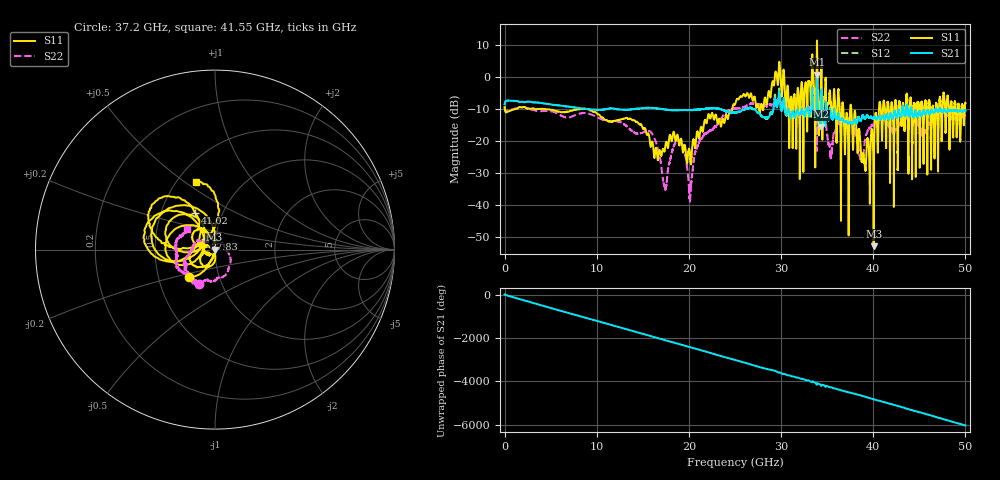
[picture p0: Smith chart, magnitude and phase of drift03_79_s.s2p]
!Created with skrf (http://scikit-rf.org).
# Hz S RI R 50.0
!freq ReS11 ImS11 ReS21 ImS21 ReS12 ImS12 ReS22 ImS22
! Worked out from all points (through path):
!   10001 points, 300 kHz to 50 GHz, reference 50 ohm
!   highest |S21| = 0.81 dB at 33.9 GHz (marker M1); lowest = -15.5 dB at 34.32 GHz (marker M2)
!   group delay of S21, straight-line fit = 335 ps
!   lowest |S11| = -53.0 dB at 40.05 GHz (marker M3), VSWR 1.00, Z = 49.8 - j0.0917 ohm
!   |S11| at or under -10 dB: 4.476 GHz to 8.18 GHz (3.704 GHz wide, 58.5 % of centre); 9.013 GHz to 24.7 GHz (15.68 GHz wide, 93.1 % of centre); 37.62 GHz to 40.62 GHz (2.996 GHz wide, 7.66 % of centre) (the widest 3 of 54)
!   |S22| runs from -39.0 to -5.9 dB; largest |S21 - S12| = 0.11
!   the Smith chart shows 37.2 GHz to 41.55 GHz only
!   S11 on the Smith chart (normalised r, x): 37.2 GHz: 0.72, -0.23; 37.83 GHz: 0.89, +0.10; 41.02 GHz: 0.74, +0.32; 41.55 GHz: 0.62, +0.55
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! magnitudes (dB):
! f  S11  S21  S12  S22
! 300 kHz  -9.3  -8.5  -8.5  -9.3
! 8.335 GHz  -9.9  -9.8  -9.8  -11.3
! 16.67 GHz  -25.5  -9.8  -9.8  -23.0
! 17.4 GHz  -22.4  -10.1  -10.1  -34.8
! 19.11 GHz  -19.3  -10.3  -10.3  -20.2
! 20.14 GHz  -24.8  -10.3  -10.3  -38.4
! 21.21 GHz  -17.2  -10.1  -10.1  -19.7
! 25 GHz  -8.6  -11.1  -11.1  -9.8
! 29.66 GHz  -2.3  -8.3  -8.4  -7.0
! 31.08 GHz  -6.1  -12.7  -12.6  -10.5
! 33.34 GHz  0.5  -7.4  -7.5  -9.4
! 33.9 GHz  11.5  0.8  0.5  -23.1
! 34.32 GHz  -2.9  -15.5  -14.9  -11.2
! 35.35 GHz  -7.0  -10.8  -10.3  -25.4
! 37.2 GHz  -13.5  -14.2  -14.2  -13.4
! 37.83 GHz  -21.8  -14.4  -14.4  -14.5
! 38.72 GHz  -25.5  -13.3  -13.2  -25.5
! 40.05 GHz  -53.0  -12.7  -12.8  -15.2
! 41.02 GHz  -12.7  -12.1  -12.0  -13.2
! 41.55 GHz  -8.2  -12.4  -12.3  -14.4
! 41.67 GHz  -9.4  -13.3  -13.2  -14.5
! 50 GHz  -8.1  -10.5  -10.5  -12.1
